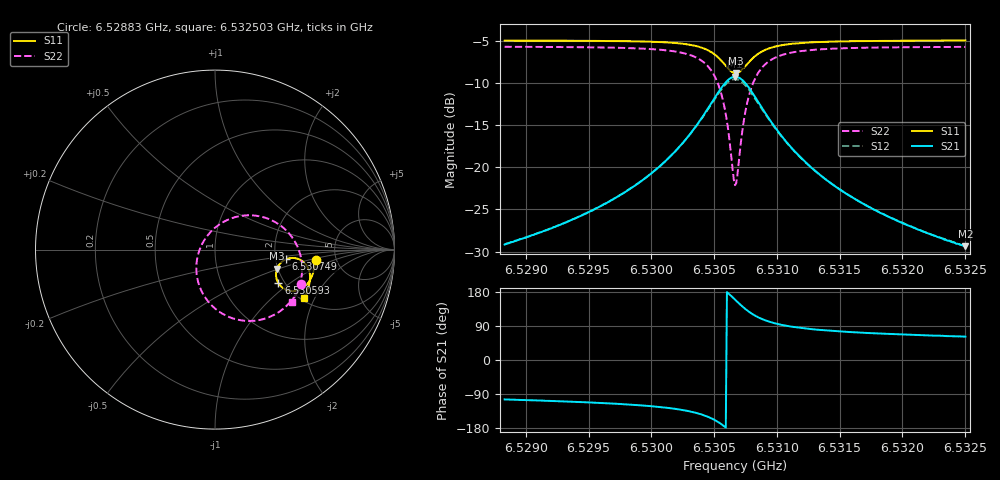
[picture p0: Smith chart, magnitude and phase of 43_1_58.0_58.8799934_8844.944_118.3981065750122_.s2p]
#  HZ  S  RI  R  50.00
! Rohde & Schwarz Vector Network Analyzer
! Rohde-Schwarz,ZNB20-2Port,1311601062101988,3.16
! Created: UTC 3/21/2024, 12:52:10 AM
! freq[Hz]  re:S11  im:S11  re:S21  im:S21  re:S12  im:S12  re:S22  im:S22
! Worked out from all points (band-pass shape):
!   401 points, 6.52883 GHz to 6.532503 GHz, reference 50 ohm
!   highest |S21| = -9.25 dB at 6.530667 GHz (marker M1); lowest = -29.4 dB at 6.532503 GHz (marker M2)
!   |S21| within 3 dB of the highest: 6.530484 GHz to 6.530852 GHz (367.3 kHz wide, 0.00562 % of centre)
!   lowest |S11| = -8.8 dB at 6.530676 GHz (marker M3), VSWR 2.13, Z = 98.9 - j24.2 ohm
!   |S11| at or under -10 dB: nowhere
!   |S22| runs from -22.1 to -5.7 dB; largest |S21 - S12| = 0.015
!   S11 on the Smith chart (normalised r, x): 6.52883 GHz: 3.47, -0.60; 6.530593 GHz: 1.85, -0.83; 6.530749 GHz: 2.28, -0.29; 6.532503 GHz: 2.07, -1.66
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6.5288304e9  0.5608 -0.0592  -0.00842 -0.0338  -0.00925 -0.0338  0.4818 -0.1913
6.5294456e9  0.5513 -0.1127  -0.0188 -0.0483  -0.0199 -0.0479  0.4488 -0.2533
6.5297944e9  0.54 -0.1475  -0.0324 -0.0638  -0.0343 -0.063  0.4133 -0.299
6.5300607e9  0.5236 -0.1794  -0.0558 -0.0834  -0.0583 -0.0817  0.3606 -0.3447
6.5302811e9  0.4934 -0.2115  -0.1028 -0.107  -0.1062 -0.1031  0.2656 -0.3882
6.5304371e9  0.4437 -0.231  -0.1825 -0.1138  -0.1851 -0.1056  0.1199 -0.3891
6.5305289e9  0.3924 -0.2219  -0.2632 -0.0803  -0.2613 -0.0685  -0.0132 -0.3159
6.5305657e9  0.3691 -0.2061  -0.2977 -0.0456  -0.2926 -0.0333  -0.0648 -0.2502
6.5305932e9  0.3537 -0.1875  -0.3192 -0.00882  -0.311 0.00272  -0.0929 -0.1844
6.5306483e9  0.3399 -0.1349  -0.3315 0.0873  -0.3186 0.0939  -0.0931 -0.0232
6.5306667e9  0.3427 -0.1156  -0.3228 0.1212  -0.3091 0.1252  -0.0722 0.0303
6.5306758e9  0.3457 -0.1062  -0.316 0.1375  -0.3023 0.1403  -0.058 0.0554
6.5306942e9  0.3543 -0.0889  -0.2976 0.167  -0.2847 0.1676  -0.0225 0.1005
6.5307126e9  0.3661 -0.0741  -0.2747 0.1919  -0.2627 0.1905  0.0197 0.137
6.5307493e9  0.3952 -0.0542  -0.2214 0.2247  -0.2125 0.2209  0.1135 0.1812
6.5308136e9  0.4451 -0.0474  -0.1335 0.2352  -0.129 0.231  0.2621 0.1824
6.5309054e9  0.4915 -0.0677  -0.0547 0.204  -0.0528 0.2014  0.391 0.1126
6.5310431e9  0.52 -0.1054  -0.00625 0.1516  -0.00511 0.1506  0.464 0.00614
6.5312818e9  0.5295 -0.1524  0.015 0.0975  0.0161 0.0972  0.4855 -0.106
6.5315297e9  0.5267 -0.1855  0.0187 0.0691  0.0197 0.0689  0.4786 -0.1704
6.531897e9  0.5167 -0.2227  0.0184 0.0472  0.0191 0.047  0.4606 -0.2289
6.5325029e9  0.4958 -0.2716  0.0161 0.03  0.0168 0.0297  0.429 -0.2897
